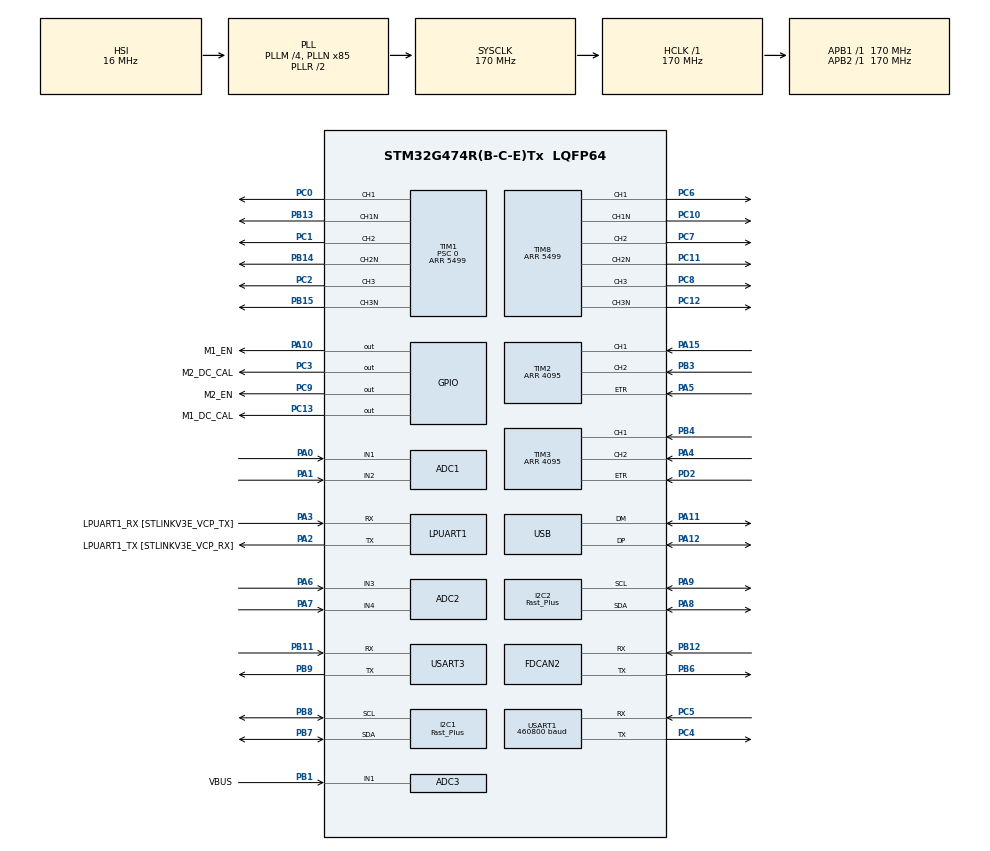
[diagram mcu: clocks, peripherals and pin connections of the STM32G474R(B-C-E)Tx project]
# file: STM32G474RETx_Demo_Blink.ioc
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ADC1.Channel-4\#ChannelRegularConversion=ADC_CHANNEL_1
ADC1.Channel-5\#ChannelRegularConversion=ADC_CHANNEL_2
ADC1.ContinuousConvMode=DISABLE
ADC1.DiscontinuousConvMode=ENABLE
ADC1.EOCSelection=ADC_EOC_SINGLE_CONV
ADC1.NbrOfConversion=2
ADC1.NbrOfConversionFlag=1
ADC1.OffsetNumber-4\#ChannelRegularConversion=ADC_OFFSET_NONE
ADC1.OffsetNumber-5\#ChannelRegularConversion=ADC_OFFSET_NONE
ADC1.Rank-4\#ChannelRegularConversion=1
ADC1.Rank-5\#ChannelRegularConversion=2
ADC1.SamplingTime-4\#ChannelRegularConversion=ADC_SAMPLETIME_2CYCLES_5
ADC1.SamplingTime-5\#ChannelRegularConversion=ADC_SAMPLETIME_2CYCLES_5
ADC1.master=1
ADC2.Channel-5\#ChannelRegularConversion=ADC_CHANNEL_3
ADC2.Channel-6\#ChannelRegularConversion=ADC_CHANNEL_4
ADC2.ContinuousConvMode=DISABLE
ADC2.DiscontinuousConvMode=ENABLE
ADC2.NbrOfConversion=2
ADC2.NbrOfConversionFlag=1
ADC2.OffsetNumber-5\#ChannelRegularConversion=ADC_OFFSET_NONE
ADC2.OffsetNumber-6\#ChannelRegularConversion=ADC_OFFSET_NONE
ADC2.Rank-5\#ChannelRegularConversion=1
ADC2.Rank-6\#ChannelRegularConversion=2
ADC2.SamplingTime-5\#ChannelRegularConversion=ADC_SAMPLETIME_2CYCLES_5
ADC2.SamplingTime-6\#ChannelRegularConversion=ADC_SAMPLETIME_2CYCLES_5
ADC3.Channel-3\#ChannelRegularConversion=ADC_CHANNEL_1
ADC3.ContinuousConvMode=ENABLE
ADC3.NbrOfConversionFlag=1
ADC3.OffsetNumber-3\#ChannelRegularConversion=ADC_OFFSET_NONE
ADC3.Rank-3\#ChannelRegularConversion=1
ADC3.SamplingTime-3\#ChannelRegularConversion=ADC_SAMPLETIME_2CYCLES_5
ADC3.master=1
Dma.ADC1.0.Direction=DMA_PERIPH_TO_MEMORY
Dma.ADC1.0.EventEnable=DISABLE
Dma.ADC1.0.Instance=DMA1_Channel1
Dma.ADC1.0.MemDataAlignment=DMA_MDATAALIGN_WORD
Dma.ADC1.0.MemInc=DMA_MINC_ENABLE
Dma.ADC1.0.Mode=DMA_CIRCULAR
Dma.ADC1.0.PeriphDataAlignment=DMA_PDATAALIGN_WORD
Dma.ADC1.0.PeriphInc=DMA_PINC_DISABLE
Dma.ADC1.0.Polarity=HAL_DMAMUX_REQ_GEN_RISING
Dma.ADC1.0.Priority=DMA_PRIORITY_LOW
Dma.ADC1.0.RequestNumber=1
Dma.ADC1.0.SignalID=NONE
Dma.ADC1.0.SyncEnable=DISABLE
Dma.ADC1.0.SyncPolarity=HAL_DMAMUX_SYNC_NO_EVENT
Dma.ADC1.0.SyncRequestNumber=1
Dma.ADC1.0.SyncSignalID=NONE
Dma.ADC2.1.Direction=DMA_PERIPH_TO_MEMORY
Dma.ADC2.1.EventEnable=DISABLE
Dma.ADC2.1.Instance=DMA1_Channel2
Dma.ADC2.1.MemDataAlignment=DMA_MDATAALIGN_WORD
Dma.ADC2.1.MemInc=DMA_MINC_ENABLE
Dma.ADC2.1.Mode=DMA_NORMAL
Dma.ADC2.1.PeriphDataAlignment=DMA_PDATAALIGN_WORD
Dma.ADC2.1.PeriphInc=DMA_PINC_DISABLE
Dma.ADC2.1.Polarity=HAL_DMAMUX_REQ_GEN_RISING
Dma.ADC2.1.Priority=DMA_PRIORITY_LOW
Dma.ADC2.1.RequestNumber=1
Dma.ADC2.1.SignalID=NONE
Dma.ADC2.1.SyncEnable=DISABLE
Dma.ADC2.1.SyncPolarity=HAL_DMAMUX_SYNC_NO_EVENT
Dma.ADC2.1.SyncRequestNumber=1
Dma.ADC2.1.SyncSignalID=NONE
Dma.ADC3.2.Direction=DMA_PERIPH_TO_MEMORY
Dma.ADC3.2.EventEnable=DISABLE
Dma.ADC3.2.Instance=DMA1_Channel3
Dma.ADC3.2.MemDataAlignment=DMA_MDATAALIGN_WORD
Dma.ADC3.2.MemInc=DMA_MINC_ENABLE
Dma.ADC3.2.Mode=DMA_NORMAL
Dma.ADC3.2.PeriphDataAlignment=DMA_PDATAALIGN_WORD
Dma.ADC3.2.PeriphInc=DMA_PINC_DISABLE
Dma.ADC3.2.Polarity=HAL_DMAMUX_REQ_GEN_RISING
Dma.ADC3.2.Priority=DMA_PRIORITY_LOW
Dma.ADC3.2.RequestNumber=1
Dma.ADC3.2.SignalID=NONE
Dma.ADC3.2.SyncEnable=DISABLE
Dma.ADC3.2.SyncPolarity=HAL_DMAMUX_SYNC_NO_EVENT
Dma.ADC3.2.SyncRequestNumber=1
Dma.ADC3.2.SyncSignalID=NONE
Dma.Request0=ADC1
Dma.Request1=ADC2
Dma.Request2=ADC3
Dma.Request3=USART1_TX
Dma.USART1_TX.3.Direction=DMA_MEMORY_TO_PERIPH
Dma.USART1_TX.3.EventEnable=DISABLE
Dma.USART1_TX.3.Instance=DMA1_Channel4
Dma.USART1_TX.3.MemDataAlignment=DMA_MDATAALIGN_BYTE
Dma.USART1_TX.3.MemInc=DMA_MINC_ENABLE
Dma.USART1_TX.3.Mode=DMA_CIRCULAR
Dma.USART1_TX.3.PeriphDataAlignment=DMA_PDATAALIGN_BYTE
Dma.USART1_TX.3.PeriphInc=DMA_PINC_DISABLE
Dma.USART1_TX.3.Polarity=HAL_DMAMUX_REQ_GEN_RISING
Dma.USART1_TX.3.Priority=DMA_PRIORITY_MEDIUM
Dma.USART1_TX.3.RequestNumber=1
Dma.USART1_TX.3.SignalID=NONE
Dma.USART1_TX.3.SyncEnable=DISABLE
Dma.USART1_TX.3.SyncPolarity=HAL_DMAMUX_SYNC_NO_EVENT
Dma.USART1_TX.3.SyncRequestNumber=1
Dma.USART1_TX.3.SyncSignalID=NONE
FDCAN2.CalculateBaudRateNominal=2125000
FDCAN2.CalculateTimeBitNominal=470
FDCAN2.CalculateTimeQuantumNominal=94.11764705882354
I2C1.I2C_Speed_Mode=I2C_Fast_Plus
I2C1.Timing=0x00802172
I2C2.I2C_Speed_Mode=I2C_Fast_Plus
I2C2.Timing=0x00802172
Mcu.Family=STM32G4
Mcu.Name=STM32G474R(B-C-E)Tx
Mcu.Package=LQFP64
NVIC.DMA1_Channel1_IRQn=true\:0\:0\:false\:false\:true\:false\:true\:true
NVIC.DMA1_Channel2_IRQn=true\:0\:0\:false\:false\:true\:false\:true\:true
NVIC.DMA1_Channel3_IRQn=true\:0\:0\:false\:false\:true\:false\:true\:true
NVIC.DMA1_Channel4_IRQn=true\:0\:0\:false\:false\:true\:false\:true\:true
NVIC.PriorityGroup=NVIC_PRIORITYGROUP_4
PA0.Mode=IN1-Single-Ended
PA0.Signal=ADC1_IN1
PA1.Mode=IN2-Single-Ended
PA1.Signal=ADC1_IN2
PA10.GPIO_Label=M1_EN
PA10.Signal=GPIO_Output
PA11.Mode=Device
PA11.Signal=USB_DM
PA12.Mode=Device
PA12.Signal=USB_DP
PA13.GPIO_Label=T_SWDIO
PA13.Mode=Serial_Wire
PA13.Signal=SYS_JTMS-SWDIO
PA14.GPIO_Label=T_SWCLK
PA14.Mode=Serial_Wire
PA14.Signal=SYS_JTCK-SWCLK
PA15.Signal=S_TIM2_CH1
PA2.GPIO_Label=LPUART1_TX [STLINKV3E_VCP_RX]
PA2.Mode=Asynchronous
PA2.Signal=LPUART1_TX
PA3.GPIO_Label=LPUART1_RX [STLINKV3E_VCP_TX]
PA3.Mode=Asynchronous
PA3.Signal=LPUART1_RX
PA4.Signal=S_TIM3_CH2
PA5.Signal=S_TIM2_ETR
PA6.Mode=IN3-Single-Ended
PA6.Signal=ADC2_IN3
PA7.Mode=IN4-Single-Ended
PA7.Signal=ADC2_IN4
PA8.Mode=I2C
PA8.Signal=I2C2_SDA
PA9.Mode=I2C
PA9.Signal=I2C2_SCL
PB0.Signal=S_TIM3_CH3
PB1.GPIO_Label=VBUS
PB1.Mode=IN1-Single-Ended
PB1.Signal=ADC3_IN1
PB10.Signal=S_TIM2_CH3
PB11.Mode=Asynchronous
PB11.Signal=USART3_RX
PB12.Mode=FDCAN_Activate
PB12.Signal=FDCAN2_RX
PB13.Mode=PWM Generation1 CH1 CH1N
PB13.Signal=TIM1_CH1N
PB14.Mode=PWM Generation2 CH2 CH2N
PB14.Signal=TIM1_CH2N
PB15.Mode=PWM Generation3 CH3 CH3N
PB15.Signal=TIM1_CH3N
PB3.Signal=S_TIM2_CH2
PB4.Signal=S_TIM3_CH1
PB6.Mode=FDCAN_Activate
PB6.Signal=FDCAN2_TX
PB7.Mode=I2C
PB7.Signal=I2C1_SDA
PB8-BOOT0.Mode=I2C
PB8-BOOT0.Signal=I2C1_SCL
PB9.Mode=Asynchronous
PB9.Signal=USART3_TX
PC0.Signal=S_TIM1_CH1
PC1.Signal=S_TIM1_CH2
PC10.Mode=PWM Generation1 CH1 CH1N
PC10.Signal=TIM8_CH1N
PC11.Mode=PWM Generation2 CH2 CH2N
PC11.Signal=TIM8_CH2N
PC12.Mode=PWM Generation3 CH3 CH3N
PC12.Signal=TIM8_CH3N
PC13.GPIO_Label=M1_DC_CAL
PC13.Signal=GPIO_Output
PC14-OSC32_IN.Mode=LSE-External-Oscillator
PC14-OSC32_IN.Signal=RCC_OSC32_IN
PC15-OSC32_OUT.Mode=LSE-External-Oscillator
PC15-OSC32_OUT.Signal=RCC_OSC32_OUT
PC2.Signal=S_TIM1_CH3
PC3.GPIO_Label=M2_DC_CAL
PC3.Signal=GPIO_Output
PC4.Mode=Asynchronous
PC4.Signal=USART1_TX
PC5.Mode=Asynchronous
PC5.Signal=USART1_RX
PC6.Signal=S_TIM8_CH1
PC7.Signal=S_TIM8_CH2
PC8.Signal=S_TIM8_CH3
PC9.GPIO_Label=M2_EN
PC9.Signal=GPIO_Output
PD2.Signal=S_TIM3_ETR
PF0-OSC_IN.Mode=HSE-External-Oscillator
PF0-OSC_IN.Signal=RCC_OSC_IN
PF1-OSC_OUT.Mode=HSE-External-Oscillator
PF1-OSC_OUT.Signal=RCC_OSC_OUT
ProjectManager.HeapSize=0x200
ProjectManager.StackSize=0x400
ProjectManager.TargetToolchain=MDK-ARM V5.32
RCC.ADC12Freq_Value=170000000
RCC.ADC345Freq_Value=170000000
RCC.AHBFreq_Value=170000000
RCC.APB1Freq_Value=170000000
RCC.APB1TimFreq_Value=170000000
RCC.APB2Freq_Value=170000000
RCC.APB2TimFreq_Value=170000000
RCC.CK48CLockSelection=RCC_USBCLKSOURCE_HSI48
RCC.CortexFreq_Value=170000000
RCC.EXTERNAL_CLOCK_VALUE=12288000
RCC.HCLKFreq_Value=170000000
RCC.HSE_VALUE=24000000
RCC.HSI48_VALUE=48000000
RCC.HSI_VALUE=16000000
RCC.PLLM=RCC_PLLM_DIV4
RCC.PLLN=85
RCC.RTCClockSelection=RCC_RTCCLKSOURCE_LSE
RCC.SYSCLKFreq_VALUE=170000000
RCC.SYSCLKSource=RCC_SYSCLKSOURCE_PLLCLK
RCC.USBFreq_Value=48000000
RCC.VCOOutputFreq_Value=340000000
SH.S_TIM1_CH1.0=TIM1_CH1,PWM Generation1 CH1 CH1N
SH.S_TIM1_CH2.0=TIM1_CH2,PWM Generation2 CH2 CH2N
SH.S_TIM1_CH3.0=TIM1_CH3,PWM Generation3 CH3 CH3N
SH.S_TIM2_CH1.0=TIM2_CH1,Encoder_Interface_w_index
SH.S_TIM2_CH2.0=TIM2_CH2,Encoder_Interface_w_index
SH.S_TIM2_CH3.0=TIM2_CH3
SH.S_TIM2_ETR.0=TIM2_ETR,Encoder_Interface_w_index
SH.S_TIM3_CH1.0=TIM3_CH1,Encoder_Interface_w_index
SH.S_TIM3_CH2.0=TIM3_CH2,Encoder_Interface_w_index
SH.S_TIM3_CH3.0=TIM3_CH3
SH.S_TIM3_ETR.0=TIM3_ETR,Encoder_Interface_w_index
SH.S_TIM8_CH1.0=TIM8_CH1,PWM Generation1 CH1 CH1N
SH.S_TIM8_CH2.0=TIM8_CH2,PWM Generation2 CH2 CH2N
SH.S_TIM8_CH3.0=TIM8_CH3,PWM Generation3 CH3 CH3N
TIM1.Channel-PWM\ Generation1\ CH1\ CH1N=TIM_CHANNEL_1
TIM1.Channel-PWM\ Generation2\ CH2\ CH2N=TIM_CHANNEL_2
TIM1.Channel-PWM\ Generation3\ CH3\ CH3N=TIM_CHANNEL_3
TIM1.PeriodNoDither=5499
TIM1.Prescaler=0
TIM1.PulseNoDither_2=500
TIM1.PulseNoDither_3=500
TIM1.RepetitionCounter=0
TIM2.EncoderMode=TIM_ENCODERMODE_TI12
TIM2.PeriodNoDither=4095
TIM3.EncoderMode=TIM_ENCODERMODE_TI12
TIM3.PeriodNoDither=4095
TIM8.Channel-PWM\ Generation1\ CH1\ CH1N=TIM_CHANNEL_1
TIM8.Channel-PWM\ Generation2\ CH2\ CH2N=TIM_CHANNEL_2
TIM8.Channel-PWM\ Generation3\ CH3\ CH3N=TIM_CHANNEL_3
TIM8.PeriodNoDither=5499
TIM8.PulseNoDither_1=500
TIM8.PulseNoDither_2=500
TIM8.PulseNoDither_3=500
TIM8.RepetitionCounter=0
USART1.BaudRate=460800
USART1.VirtualMode-Asynchronous=VM_ASYNC
USART3.VirtualMode-Asynchronous=VM_ASYNC
VP_SYS_VS_DBSignals.Mode=DisableDeadBatterySignals
VP_TIM1_VS_ClockSourceINT.Mode=Internal
VP_TIM8_VS_ClockSourceINT.Mode=Internal
board=NUCLEO-G474RE

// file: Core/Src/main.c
/* USER CODE BEGIN Header */
/**
 ******************************************************************************
 * @file           : main.c
 * @brief          : Main program body
 ******************************************************************************
 * @attention
 *
 * Copyright (c) 2024 STMicroelectronics.
 * All rights reserved.
 *
 * This software is licensed under terms that can be found in the LICENSE file
 * in the root directory of this software component.
 * If no LICENSE file comes with this software, it is provided AS-IS.
 *
 ******************************************************************************
 */
/**
 *此项目硬件使用ST官方开发板stm32G474RETX，TI DRV8301开发板，兼容6PWM/3PWM的栅极驱动器。
 *此项目软件参考Odrive和SimpleFOC相关库。
 * https://odriverobotics.com/
 * http://dengfoc.com/
 * www.simplefoc.com/
 * // TODO总体待完成项：
 * 1，ADC DMA传输。//完成
 * 2，电流值串口打印。//完成
 * 3，pid调参。
 * 4，ADC自动采集电源电压。//TODO 硬件需要加分压电阻采集母线电压
 * 5，CAN通信协议及其相关协议。
 *
 */
/* USER CODE END Header */
#include "main.h"
#include "adc.h"
#include "dma.h"
#include "fdcan.h"
#include "i2c.h"
#include "usart.h"
#include "tim.h"
#include "usb.h"
#include "gpio.h"

/* USER CODE BEGIN Includes */
#include "foc.h"
#include "as5600.h"
#include "string.h"
#include "stdio.h"
#include "ABZ.h"
/* USER CODE END Includes */

/* USER CODE BEGIN PTD */

// 根据不同电机参数设置
int PP = 7; // pole_pairs极对数 磁极数/2
int DIR = 1; // 无刷电机纠偏旋转方向

extern float raw_angle; // 获取AS5600原始角度值。

// 改进：使用ADC采集设置电源电压值。
float voltage_limit = 12;        // 用户设置：电压限幅12V，设置不超过供电电压。
float voltage_power_supply = 12; // 用户设置：供电电压12V，这里后期可以改成使用ADC采集电源上面的动态电压。

float zero_electric_angle = 0; // 零点角度值。

float Ualpha, Ubeta = 0;            // 帕克逆变换生成Ualpha，Ubeta。
float Ua = 0, Ub = 0, Uc = 0;       // 克拉克逆变换生成Ua，Ub，Uc。
float dc_a = 0, dc_b = 0, dc_c = 0; // SPWM占空比设置。

float Sensor_Angle = 0; // 解算出来的无刷电机运行状态下的实际角度。
float Sensor_Speed = 0; // 解算出来的无刷电机实际速度。

float ABZ_Sensor_Speed = 0; // 解算出来的无刷电机实际速度。
float ABZ_Sensor_Angle = 0;

uint32_t adc1_Ia = 0, adc1_Ib = 0, adc1_Ic = 0; // 电机1相电流采样电阻采集到的实际电流。
uint32_t adc2_Ia = 0, adc2_Ib = 0, adc2_Ic = 0; // 电机2相电流采样电阻采集到的实际电流。
uint32_t adc3_VBUS = 0;

float current1_A = 0; // 通过计算得到的A相实际电流。
float current1_B = 0; // 通过计算得到的B相实际电流。
float current1_C = 0; // 通过计算得到的C相实际电流。

float volts_to_amps_ratio = 0; // 计算得到的放大倍数。

float gain_a = 0, gain_b = 0, gain_c = 0; // 电流增益系数。

float offset_ia = 0, offset_ib = 0, offset_ic = 0; // 电流采集失调电压误差补偿。

// α-β坐标系的电流（iα, iβ）。
float i_alpha = 0;
float i_beta = 0;

// d-q坐标系的电流（id, iq）。
float id = 0;
float iq = 0;

// 设定PID参考值
float id_ref = 0; // d轴电流参考值为0
float iq_ref = 0; // q轴电流参考值为目标力矩

// 经过PID后输出的目标电流值与目标力矩值
float Ud = 0;
float Uq_new = 0;

/* USER CODE END PTD */

void SystemClock_Config(void);

int main(void)
{

  /* USER CODE BEGIN 1 */
  // test
  /* USER CODE END 1 */

  /* MCU Configuration--------------------------------------------------------*/

  /* Reset of all peripherals, Initializes the Flash interface and the Systick. */
  HAL_Init();

  /* Configure the system clock */
  SystemClock_Config();

  /* Initialize all configured peripherals */
  MX_GPIO_Init();
  MX_DMA_Init();
  MX_LPUART1_UART_Init();
  MX_USART1_UART_Init();
  MX_TIM1_Init();
  MX_TIM8_Init();
  MX_ADC1_Init();
  MX_ADC2_Init();
  MX_I2C1_Init();
  MX_I2C2_Init();
  MX_USART3_UART_Init();
  MX_ADC3_Init();
  MX_FDCAN2_Init();
  MX_TIM2_Init();
  MX_TIM3_Init();
  MX_USB_PCD_Init();
  /* USER CODE BEGIN 2 */

  // 配置 NVIC 中断优先级和使能
//  HAL_NVIC_SetPriority(TIM3_IRQn, 0, 0);
//  HAL_NVIC_EnableIRQ(TIM3_IRQn);
//  HAL_NVIC_SetPriority(TIM2_IRQn, 0, 0);
//  HAL_NVIC_EnableIRQ(TIM2_IRQn);

  // 初始化电机M1 ADC1滤波器
  ADC_Filter_Init(&adc1_filter_Ia);
  ADC_Filter_Init(&adc1_filter_Ib);
  ADC_Filter_Init(&adc1_filter_Ic);

  FOC_Init(voltage_power_supply); // 设置电源电压，PID初始化。

 //FOC_AS5600_Init(PP, DIR);       // 极对数，正补偿方向。
 FOC_ABZ_Init(PP, DIR);

  TIM2_M1_ABZ();                  // TIM2 ABZ编码器接口初始化并启动。
  TIM3_M2_ABZ();                  // TIM3 ABZ编码器接口初始化并启动。

  // G474可以带两路电机，此处控制DRV8301 EN脚。
  HAL_GPIO_WritePin(M1_EN_GPIO_Port, M1_EN_Pin, GPIO_PIN_SET);
  HAL_GPIO_WritePin(M2_EN_GPIO_Port, M2_EN_Pin, GPIO_PIN_SET);

  // char *msg = "Hello, World!\r\n";//串口1发送测试

  /* USER CODE END 2 */

  /* Infinite loop */
  while (1)
  {

    /* USER CODE BEGIN 3 */
    // ADC debug
    //  Send_ADC1_Values(&huart1);
    // Read_ADC3_Values();//电源电压采集测试。
    //  读取新的ADC值（假设Read_ADC_Value()是你获取ADC值的函数）

    // UART debug
    // HAL_UART_Transmit(&huart1, (uint8_t*)msg, strlen(msg), HAL_MAX_DELAY);//串口1发送测试
    // HAL_Delay(1000); // 1 second delay

//    volatile  int speed=1;
//    if (AS5600_ReadRawAngle(&hi2c1, &raw_angle) == HAL_OK)
//    {
//       Set_Angle(5);    // 位置闭环。
//       //Set_Speed(speed);// 速度闭环。
//    }

     // ABZ_Set_Angle(5);
      ABZ_Set_Speed(10);// 速度闭环。

    // openloop debug
    // Current_Speed(2.0f, 0.1f);
     //Open_Loop_Control(0.2f, -0.1f); // 开环控制顺时针，设置电压和速度。
    // Open_Loop_Control(1.0f, -0.01f); // 开环控制逆时针，设置电压和速度。

    // ABZ编码器debug
    // UpdateEncoderCnt();
    // Count_M1_ABZ();
    // Count_M2_ABZ();//开发板只预留了M2 的ABZ编码器接口。

  }
  /* USER CODE END 3 */
}

void SystemClock_Config(void)
{
  RCC_OscInitTypeDef RCC_OscInitStruct = {0};
  RCC_ClkInitTypeDef RCC_ClkInitStruct = {0};

  /** Configure the main internal regulator output voltage
  */
  HAL_PWREx_ControlVoltageScaling(PWR_REGULATOR_VOLTAGE_SCALE1_BOOST);

  /** Initializes the RCC Oscillators according to the specified parameters
  * in the RCC_OscInitTypeDef structure.
  */
  RCC_OscInitStruct.OscillatorType = RCC_OSCILLATORTYPE_HSI|RCC_OSCILLATORTYPE_HSI48;
  RCC_OscInitStruct.HSIState = RCC_HSI_ON;
  RCC_OscInitStruct.HSICalibrationValue = RCC_HSICALIBRATION_DEFAULT;
  RCC_OscInitStruct.HSI48State = RCC_HSI48_ON;
  RCC_OscInitStruct.PLL.PLLState = RCC_PLL_ON;
  RCC_OscInitStruct.PLL.PLLSource = RCC_PLLSOURCE_HSI;
  RCC_OscInitStruct.PLL.PLLM = RCC_PLLM_DIV4;
  RCC_OscInitStruct.PLL.PLLN = 85;
  RCC_OscInitStruct.PLL.PLLP = RCC_PLLP_DIV2;
  RCC_OscInitStruct.PLL.PLLQ = RCC_PLLQ_DIV2;
  RCC_OscInitStruct.PLL.PLLR = RCC_PLLR_DIV2;
  if (HAL_RCC_OscConfig(&RCC_OscInitStruct) != HAL_OK)
  {
    Error_Handler();
  }

  /** Initializes the CPU, AHB and APB buses clocks
  */
  RCC_ClkInitStruct.ClockType = RCC_CLOCKTYPE_HCLK|RCC_CLOCKTYPE_SYSCLK
                              |RCC_CLOCKTYPE_PCLK1|RCC_CLOCKTYPE_PCLK2;
  RCC_ClkInitStruct.SYSCLKSource = RCC_SYSCLKSOURCE_PLLCLK;
  RCC_ClkInitStruct.AHBCLKDivider = RCC_SYSCLK_DIV1;
  RCC_ClkInitStruct.APB1CLKDivider = RCC_HCLK_DIV1;
  RCC_ClkInitStruct.APB2CLKDivider = RCC_HCLK_DIV1;

  if (HAL_RCC_ClockConfig(&RCC_ClkInitStruct, FLASH_LATENCY_4) != HAL_OK)
  {
    Error_Handler();
  }
}

void Error_Handler(void)
{
  __disable_irq();
  while (1)
  {
  }
}
